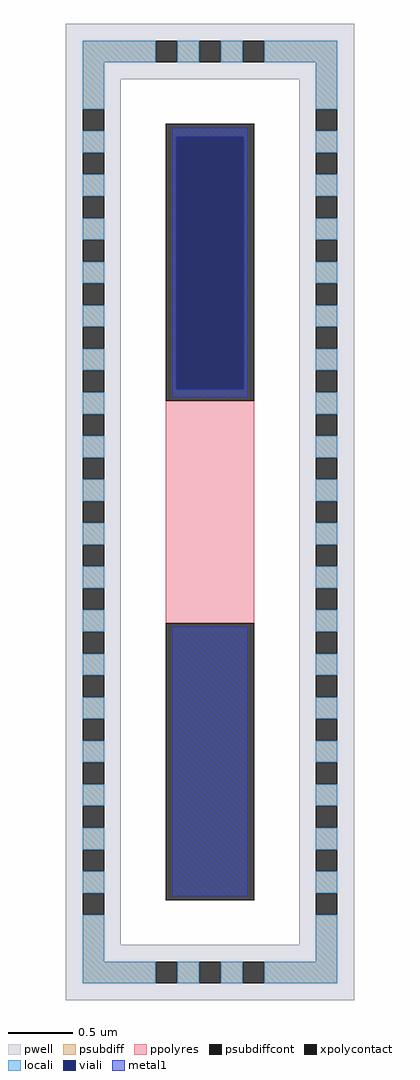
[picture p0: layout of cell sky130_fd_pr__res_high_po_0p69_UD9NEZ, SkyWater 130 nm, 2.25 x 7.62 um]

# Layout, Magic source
magic
tech sky130A
magscale 1 2
<< pwell >>
rect -225 676 225 762
rect -225 -676 -139 676
rect 139 -676 225 676
rect -225 -762 225 -676
<< psubdiff >>
rect -199 702 -85 736
rect -51 702 -17 736
rect 17 702 51 736
rect 85 702 199 736
rect -199 629 -165 702
rect 165 629 199 702
rect -199 561 -165 595
rect -199 493 -165 527
rect -199 425 -165 459
rect -199 357 -165 391
rect -199 289 -165 323
rect -199 221 -165 255
rect -199 153 -165 187
rect -199 85 -165 119
rect -199 17 -165 51
rect -199 -51 -165 -17
rect -199 -119 -165 -85
rect -199 -187 -165 -153
rect -199 -255 -165 -221
rect -199 -323 -165 -289
rect -199 -391 -165 -357
rect -199 -459 -165 -425
rect -199 -527 -165 -493
rect -199 -595 -165 -561
rect 165 561 199 595
rect 165 493 199 527
rect 165 425 199 459
rect 165 357 199 391
rect 165 289 199 323
rect 165 221 199 255
rect 165 153 199 187
rect 165 85 199 119
rect 165 17 199 51
rect 165 -51 199 -17
rect 165 -119 199 -85
rect 165 -187 199 -153
rect 165 -255 199 -221
rect 165 -323 199 -289
rect 165 -391 199 -357
rect 165 -459 199 -425
rect 165 -527 199 -493
rect 165 -595 199 -561
rect -199 -702 -165 -629
rect 165 -702 199 -629
rect -199 -736 -85 -702
rect -51 -736 -17 -702
rect 17 -736 51 -702
rect 85 -736 199 -702
<< psubdiffcont >>
rect -85 702 -51 736
rect -17 702 17 736
rect 51 702 85 736
rect -199 595 -165 629
rect -199 527 -165 561
rect -199 459 -165 493
rect -199 391 -165 425
rect -199 323 -165 357
rect -199 255 -165 289
rect -199 187 -165 221
rect -199 119 -165 153
rect -199 51 -165 85
rect -199 -17 -165 17
rect -199 -85 -165 -51
rect -199 -153 -165 -119
rect -199 -221 -165 -187
rect -199 -289 -165 -255
rect -199 -357 -165 -323
rect -199 -425 -165 -391
rect -199 -493 -165 -459
rect -199 -561 -165 -527
rect -199 -629 -165 -595
rect 165 595 199 629
rect 165 527 199 561
rect 165 459 199 493
rect 165 391 199 425
rect 165 323 199 357
rect 165 255 199 289
rect 165 187 199 221
rect 165 119 199 153
rect 165 51 199 85
rect 165 -17 199 17
rect 165 -85 199 -51
rect 165 -153 199 -119
rect 165 -221 199 -187
rect 165 -289 199 -255
rect 165 -357 199 -323
rect 165 -425 199 -391
rect 165 -493 199 -459
rect 165 -561 199 -527
rect 165 -629 199 -595
rect -85 -736 -51 -702
rect -17 -736 17 -702
rect 51 -736 85 -702
<< xpolycontact >>
rect -69 174 69 606
rect -69 -606 69 -174
<< ppolyres >>
rect -69 -174 69 174
<< locali >>
rect -199 702 -85 736
rect -51 702 -17 736
rect 17 702 51 736
rect 85 702 199 736
rect -199 629 -165 702
rect 165 629 199 702
rect -199 561 -165 595
rect -199 493 -165 527
rect -199 425 -165 459
rect -199 357 -165 391
rect -199 289 -165 323
rect -199 221 -165 255
rect -199 153 -165 187
rect 165 561 199 595
rect 165 493 199 527
rect 165 425 199 459
rect 165 357 199 391
rect 165 289 199 323
rect 165 221 199 255
rect -199 85 -165 119
rect -199 17 -165 51
rect -199 -51 -165 -17
rect -199 -119 -165 -85
rect -199 -187 -165 -153
rect 165 153 199 187
rect 165 85 199 119
rect 165 17 199 51
rect 165 -51 199 -17
rect 165 -119 199 -85
rect -199 -255 -165 -221
rect -199 -323 -165 -289
rect -199 -391 -165 -357
rect -199 -459 -165 -425
rect -199 -527 -165 -493
rect -199 -595 -165 -561
rect 165 -187 199 -153
rect 165 -255 199 -221
rect 165 -323 199 -289
rect 165 -391 199 -357
rect 165 -459 199 -425
rect 165 -527 199 -493
rect 165 -595 199 -561
rect -199 -702 -165 -629
rect 165 -702 199 -629
rect -199 -736 -85 -702
rect -51 -736 -17 -702
rect 17 -736 51 -702
rect 85 -736 199 -702
<< viali >>
rect -53 192 53 586
<< metal1 >>
rect -59 586 59 600
rect -59 192 -53 586
rect 53 192 59 586
rect -59 179 59 192
rect -59 -600 59 -179
<< properties >>
string FIXED_BBOX -182 -719 182 719
<< end >>
